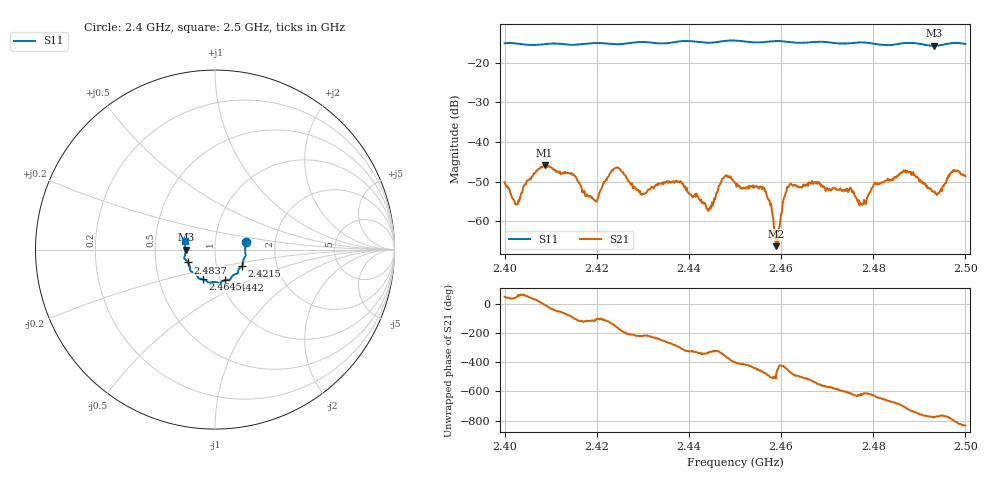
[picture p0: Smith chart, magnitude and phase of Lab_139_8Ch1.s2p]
# Hz S RI R 50
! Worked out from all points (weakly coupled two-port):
!   601 points, 2.4 GHz to 2.5 GHz, reference 50 ohm
!   highest |S21| = -45.89 dB at 2.4087 GHz (marker M1); lowest = -66.3 dB at 2.459 GHz (marker M2)
!   lowest |S11| = -15.7 dB at 2.4932 GHz (marker M3), VSWR 1.39, Z = 35.9 - j0.0572 ohm
!   |S11| at or under -10 dB: start of sweep to end of sweep
!   S12 and S22 are empty: the file has one direction only
!   S11 on the Smith chart (normalised r, x): 2.4 GHz: 1.41, +0.12; 2.4215 GHz: 1.33, -0.25; 2.4442 GHz: 1.05, -0.37; 2.4645 GHz: 0.83, -0.29; 2.4837 GHz: 0.73, -0.11; 2.5 GHz: 0.71, +0.07
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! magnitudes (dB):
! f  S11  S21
! 2.4 GHz  -15.1  -50.2
! 2.4027 GHz  -15.1  -55.8
! 2.4087 GHz  -15.3  -45.9
! 2.4167 GHz  -15.3  -51.4
! 2.4197 GHz  -15.0  -54.7
! 2.4215 GHz  -15.1  -50.1
! 2.4243 GHz  -15.3  -46.4
! 2.43 GHz  -14.8  -53.2
! 2.4333 GHz  -15.1  -50.5
! 2.4442 GHz  -15.0  -57.4
! 2.4477 GHz  -14.5  -48.9
! 2.45 GHz  -14.4  -50.3
! 2.4562 GHz  -14.8  -51.8
! 2.459 GHz  -14.5  -66.3
! 2.4615 GHz  -14.7  -51.5
! 2.4645 GHz  -15.0  -51.6
! 2.4667 GHz  -14.8  -49.9
! 2.4773 GHz  -14.9  -55.7
! 2.4833 GHz  -15.6  -49.4
! 2.4837 GHz  -15.5  -49.6
! 2.4932 GHz  -15.7  -52.6
! 2.5 GHz  -15.3  -48.7
